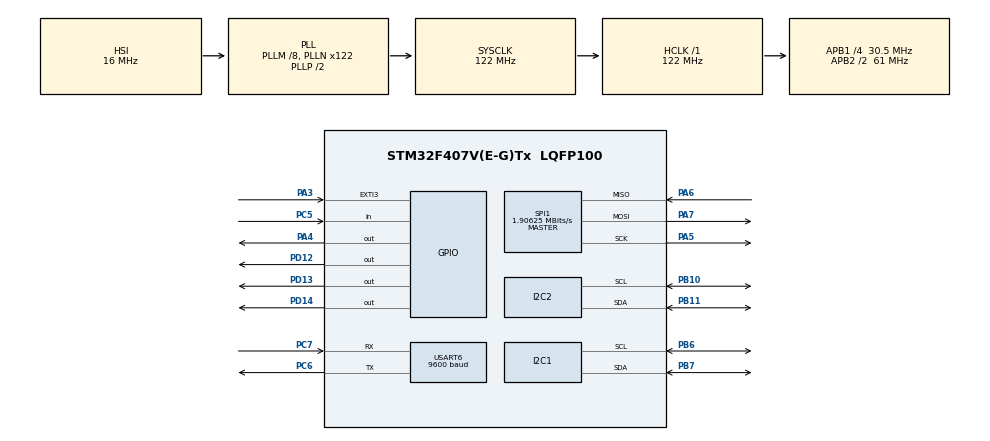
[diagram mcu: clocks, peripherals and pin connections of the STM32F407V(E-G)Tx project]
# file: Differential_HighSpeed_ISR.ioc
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Dma.I2C1_TX.2.Direction=DMA_MEMORY_TO_PERIPH
Dma.I2C1_TX.2.FIFOMode=DMA_FIFOMODE_DISABLE
Dma.I2C1_TX.2.Instance=DMA1_Stream6
Dma.I2C1_TX.2.MemDataAlignment=DMA_MDATAALIGN_BYTE
Dma.I2C1_TX.2.MemInc=DMA_MINC_ENABLE
Dma.I2C1_TX.2.Mode=DMA_NORMAL
Dma.I2C1_TX.2.PeriphDataAlignment=DMA_PDATAALIGN_BYTE
Dma.I2C1_TX.2.PeriphInc=DMA_PINC_DISABLE
Dma.I2C1_TX.2.Priority=DMA_PRIORITY_LOW
Dma.Request0=SPI1_RX
Dma.Request1=SPI1_TX
Dma.Request2=I2C1_TX
Dma.Request3=USART6_TX
Dma.SPI1_RX.0.Direction=DMA_PERIPH_TO_MEMORY
Dma.SPI1_RX.0.FIFOMode=DMA_FIFOMODE_DISABLE
Dma.SPI1_RX.0.Instance=DMA2_Stream0
Dma.SPI1_RX.0.MemDataAlignment=DMA_MDATAALIGN_BYTE
Dma.SPI1_RX.0.MemInc=DMA_MINC_ENABLE
Dma.SPI1_RX.0.Mode=DMA_NORMAL
Dma.SPI1_RX.0.PeriphDataAlignment=DMA_PDATAALIGN_BYTE
Dma.SPI1_RX.0.PeriphInc=DMA_PINC_DISABLE
Dma.SPI1_RX.0.Priority=DMA_PRIORITY_LOW
Dma.SPI1_TX.1.Direction=DMA_MEMORY_TO_PERIPH
Dma.SPI1_TX.1.FIFOMode=DMA_FIFOMODE_DISABLE
Dma.SPI1_TX.1.Instance=DMA2_Stream3
Dma.SPI1_TX.1.MemDataAlignment=DMA_MDATAALIGN_BYTE
Dma.SPI1_TX.1.MemInc=DMA_MINC_ENABLE
Dma.SPI1_TX.1.Mode=DMA_NORMAL
Dma.SPI1_TX.1.PeriphDataAlignment=DMA_PDATAALIGN_BYTE
Dma.SPI1_TX.1.PeriphInc=DMA_PINC_DISABLE
Dma.SPI1_TX.1.Priority=DMA_PRIORITY_LOW
Dma.USART6_TX.3.Direction=DMA_MEMORY_TO_PERIPH
Dma.USART6_TX.3.FIFOMode=DMA_FIFOMODE_DISABLE
Dma.USART6_TX.3.Instance=DMA2_Stream6
Dma.USART6_TX.3.MemDataAlignment=DMA_MDATAALIGN_BYTE
Dma.USART6_TX.3.MemInc=DMA_MINC_ENABLE
Dma.USART6_TX.3.Mode=DMA_NORMAL
Dma.USART6_TX.3.PeriphDataAlignment=DMA_PDATAALIGN_BYTE
Dma.USART6_TX.3.PeriphInc=DMA_PINC_DISABLE
Dma.USART6_TX.3.Priority=DMA_PRIORITY_LOW
FREERTOS.BinarySemaphores01=adcBinarySem,Dynamic,NULL;I2cBinarySem,Dynamic,NULL
FREERTOS.HEAP_NUMBER=3
FREERTOS.Queues01=adcQueue,16,long,0,Dynamic,NULL,NULL
FREERTOS.Tasks01=ADC_Task,3,200,ADC_Thread,Default,NULL,Dynamic,NULL,NULL;FFT_Task,2,200,FFT_Thread,Default,NULL,Dynamic,NULL,NULL;LED_Task,1,200,LED_Thread,Default,NULL,Dynamic,NULL,NULL;I2C_Task,3,200,StartTask04,Default,NULL,Dynamic,NULL,NULL
FREERTOS.configMINIMAL_STACK_SIZE=200
FREERTOS.configTICK_RATE_HZ=1000
FREERTOS.configTOTAL_HEAP_SIZE=30000
I2C1.GeneralCallMode=I2C_GENERALCALL_ENABLE
I2C1.NoStretchMode=I2C_NOSTRETCH_ENABLE
I2C1.OwnAddress=2
I2C2.GeneralCallMode=I2C_GENERALCALL_ENABLE
I2C2.OwnAddress=4
Mcu.Family=STM32F4
Mcu.Name=STM32F407V(E-G)Tx
Mcu.Package=LQFP100
NVIC.DMA1_Stream6_IRQn=true\:5\:0\:false\:false\:true\:true\:false\:true
NVIC.DMA2_Stream0_IRQn=true\:5\:0\:false\:false\:true\:true\:false\:true
NVIC.DMA2_Stream3_IRQn=true\:5\:0\:false\:false\:true\:true\:false\:true
NVIC.DMA2_Stream6_IRQn=true\:5\:0\:false\:false\:true\:true\:false\:true
NVIC.EXTI3_IRQn=true\:5\:0\:false\:false\:true\:true\:true\:true
NVIC.I2C1_ER_IRQn=true\:5\:0\:false\:false\:true\:true\:true\:true
NVIC.I2C1_EV_IRQn=true\:5\:0\:false\:false\:true\:true\:true\:true
NVIC.PriorityGroup=NVIC_PRIORITYGROUP_4
NVIC.USART6_IRQn=true\:5\:0\:false\:false\:true\:true\:true\:true
PA3.GPIO_ModeDefaultEXTI=GPIO_MODE_IT_FALLING
PA3.Signal=GPXTI3
PA4.GPIO_PuPd=GPIO_PULLUP
PA4.GPIO_Speed=GPIO_SPEED_FREQ_VERY_HIGH
PA4.PinState=GPIO_PIN_RESET
PA4.Signal=GPIO_Output
PA5.Mode=Full_Duplex_Master
PA5.Signal=SPI1_SCK
PA6.Mode=Full_Duplex_Master
PA6.Signal=SPI1_MISO
PA7.Mode=Full_Duplex_Master
PA7.Signal=SPI1_MOSI
PB10.Mode=I2C
PB10.Signal=I2C2_SCL
PB11.Mode=I2C
PB11.Signal=I2C2_SDA
PB6.Mode=I2C
PB6.Signal=I2C1_SCL
PB7.Mode=I2C
PB7.Signal=I2C1_SDA
PC5.GPIO_PuPd=GPIO_PULLDOWN
PC5.Signal=GPIO_Input
PC6.Mode=Asynchronous
PC6.Signal=USART6_TX
PC7.Mode=Asynchronous
PC7.Signal=USART6_RX
PD12.Signal=GPIO_Output
PD13.Signal=GPIO_Output
PD14.Signal=GPIO_Output
ProjectManager.HeapSize=0x200
ProjectManager.StackSize=0x400
ProjectManager.TargetToolchain=STM32CubeIDE
RCC.48MHZClocksFreq_Value=61000000
RCC.AHBFreq_Value=122000000
RCC.APB1CLKDivider=RCC_HCLK_DIV4
RCC.APB1Freq_Value=30500000
RCC.APB1TimFreq_Value=61000000
RCC.APB2CLKDivider=RCC_HCLK_DIV2
RCC.APB2Freq_Value=61000000
RCC.APB2TimFreq_Value=122000000
RCC.CortexFreq_Value=122000000
RCC.HCLKFreq_Value=122000000
RCC.HSE_VALUE=25000000
RCC.HSI_VALUE=16000000
RCC.LSE_VALUE=32768
RCC.PLLM=8
RCC.PLLN=122
RCC.SYSCLKFreq_VALUE=122000000
RCC.SYSCLKSource=RCC_SYSCLKSOURCE_PLLCLK
RCC.VCOOutputFreq_Value=244000000
SPI1.BaudRatePrescaler=SPI_BAUDRATEPRESCALER_32
SPI1.CLKPhase=SPI_PHASE_2EDGE
SPI1.CalculateBaudRate=1.90625 MBits/s
SPI1.Direction=SPI_DIRECTION_2LINES
SPI1.Mode=SPI_MODE_MASTER
SPI1.VirtualType=VM_MASTER
USART6.BaudRate=9600
USART6.VirtualMode=VM_ASYNC
VP_FREERTOS_VS_CMSIS_V1.Mode=CMSIS_V1
board=custom

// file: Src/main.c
/* USER CODE BEGIN Header */
/**
  ******************************************************************************
  * @file           : main.c
  * @brief          : Main program body
  ******************************************************************************
  * @attention
  *
  * <h2><center>&copy; Copyright (c) 2019 STMicroelectronics.
  * All rights reserved.</center></h2>
  *
  * This software component is licensed by ST under BSD 3-Clause license,
  * the "License"; You may not use this file except in compliance with the
  * License. You may obtain a copy of the License at:
  *                        opensource.org/licenses/BSD-3-Clause
  *
  ******************************************************************************
  */
/* USER CODE END Header */

#include "main.h"
#include "cmsis_os.h"

/* USER CODE BEGIN Includes */
#include "Delay.h"
#include "Calculate_statistic.h"
#include "arm_const_structs.h"
#include "arm_math.h"
#include "ADS1256.h"
#include "BLE_USART.h"
#include "stdlib.h"

//#include "fft_self.h"
/* USER CODE END Includes */

/* USER CODE BEGIN PTD */
#define FFT_LENGTH_SAMPLES 8192
/* USER CODE END PTD */

/* USER CODE BEGIN PD */

//IIC EEPROM
#define ADDR_24LCxx_Write 0xA0
#define ADDR_24LCxx_Read 0xA1
#define BufferSize 0x100

/* USER CODE END PD */

I2C_HandleTypeDef hi2c1;
I2C_HandleTypeDef hi2c2;
DMA_HandleTypeDef hdma_i2c1_tx;

SPI_HandleTypeDef hspi1;
DMA_HandleTypeDef hdma_spi1_rx;
DMA_HandleTypeDef hdma_spi1_tx;

UART_HandleTypeDef huart6;
DMA_HandleTypeDef hdma_usart6_tx;

osThreadId ADC_TaskHandle;
osThreadId FFT_TaskHandle;
osThreadId LED_TaskHandle;
osThreadId I2C_TaskHandle;
osMessageQId adcQueueHandle;
osSemaphoreId adcBinarySemHandle;
osSemaphoreId I2cBinarySemHandle;
/* USER CODE BEGIN PV */

/*
 * I2C private value
 * */
struct I2cCommunication
{
	uint8_t i2cRecive;
	uint8_t i2cSend;
} I2cC;

uint8_t I2cbuffer[3];

union FLOAT_BYTE
{
 float f;
 uint8_t byte[sizeof(float)];
}F2B;

/*
 * Define STM32 Studio charting value
 * */
uint8_t id=0;
float data;
int32_t read = 0;

/*
 *
 * For FFT_Thread Bluetooth transmit
 * using moving average while variable times is 3
 * variable : d
 *
 * */
uint8_t averageTimes = 0;

/*
 * Define send to ADC message
 * */
uint8_t RDATACsend_data[3] = {0xff,0xff,0xff};
uint8_t Databuffer[3] = {0x00,0x00,0x00};
uint8_t RDATACcmdbuffer[1] = {CMD_RDATAC};
uint8_t SDATACcmduffer[1] = {CMD_SDATAC};

/*
 * FFT using
 * */
uint32_t fftSize = 4096;
uint32_t ifftFlag = 0;
uint32_t doBitReverse = 1;
uint32_t FFT_COUINT = 0;
uint32_t testIndex = 0;
float32_t maxValue;
float32_t *statisticDataSet;
uint32_t maxtestIndex = 0;
uint32_t mintestIndex = 0;
uint32_t dataLength = 0;
uint8_t frequencyScale = 0;

//IIC EEPROM 2402C
uint8_t WriteBufferEEPROM[BufferSize],ReadBufferEEPROM[BufferSize];

uint8_t WriteIICEEPROM[1];

//BLE 080i
USART_BLE USARTBLE;
/*
 * Define Statistic function
 */
extern Sv statistic_value;
/* FreeRTOS private variables;*/
UBaseType_t queueCount;

/* USER CODE END PV */

void SystemClock_Config(void);
static void MX_GPIO_Init(void);
static void MX_DMA_Init(void);
static void MX_SPI1_Init(void);
static void MX_I2C1_Init(void);
static void MX_I2C2_Init(void);
static void MX_USART6_UART_Init(void);
void ADC_Thread(void const * argument);
void FFT_Thread(void const * argument);
void LED_Thread(void const * argument);
void StartTask04(void const * argument);

/* USER CODE BEGIN PFP */

//IIC EEPROM function
void readIICEEPROM_2402C(void);
void writeIICEEPROM_2402C(uint8_t *data);

/* USER CODE END PFP */

/* USER CODE BEGIN 0 */

/*=============================================================================================================
 * IIC Function
 *
 *
 * */
void readIICEEPROM_2402C(void)
{
	  HAL_I2C_Mem_Read(&hi2c2, ADDR_24LCxx_Read, 0, I2C_MEMADD_SIZE_16BIT,ReadBufferEEPROM,BufferSize, 1000);
}
void writeIICEEPROM_2402C(uint8_t *data)
{
		if(HAL_I2C_Mem_Write(&hi2c2, ADDR_24LCxx_Write, 0, I2C_MEMADD_SIZE_16BIT, data,1, 0xff) == HAL_OK)
		{
			TM_DelayMicros(5000);
		}
		else
		{
			TM_DelayMicros(5000);
		}
}

//extern float32_t testInput_f32_10khz[TEST_LENGTH_SAMPLES];
float32_t testOutput[FFT_LENGTH_SAMPLES/2];
float *dataRecive[4096];
float *xdatatoSend = ADS1256.data_buffer;
float FFTdata[8192];
float rawData[4096];

/* USER CODE END 0 */

int main(void)
{

  /* MCU Configuration--------------------------------------------------------*/

  /* Reset of all peripherals, Initializes the Flash interface and the Systick. */
  HAL_Init();

  /* Configure the system clock */
  SystemClock_Config();

  /* Initialize all configured peripherals */
  MX_GPIO_Init();
  MX_DMA_Init();
  MX_SPI1_Init();
  MX_I2C1_Init();
  MX_I2C2_Init();
  MX_USART6_UART_Init();
  /* USER CODE BEGIN 2 */

  statisticDataSet = rawData;
  dataLength = sizeof(dataRecive)/sizeof(float);

  //Initialize ADS1256 data buffer size
  ADS1256.data_index = 0;
  ADS1256.data_length = dataLength;

  //Initialize Frequency range to collection to feature
  //F2B.f = 1.4567;

  //Initialize delay systick
  delay_init(122);
  TM_Delay_Init();

  readIICEEPROM_2402C();
  //Reset ADS1256
  writeCMD(CMD_RESET);
  delay_ms(10);
  TM_DelayMicros(1);

  //Initialize ADS1256 parameter (Buffer, PGA, Sampling rate)
  setBuffer();
  setPGA(PGA_GAIN1);
  setDataRate(DRATE_15000);
  frequencyScale = 15000 / fftSize;

  //Read chip id
  id = readChipID();

  delay_ms(500);// wait for initialization

  uint8_t  posChannels [4] = {AIN0, AIN2, AIN4, AIN6};
  uint8_t  negChannels [4] = {AIN1, AIN3, AIN5, AIN7};

  // Set differential analog input channel.
  setDIFFChannel(posChannels[0], negChannels[0]);
  delay_us(15);
  writeCMD(CMD_SYNC);    // SYNC command
  delay_us(10);
  writeCMD(CMD_WAKEUP);  // WAKEUP command
  delay_us(15); // min delay: t11 = 4 * 1 / 7,68 Mhz = 0,52 micro sec

  // Set continuous mode.
  if(HAL_GPIO_ReadPin(GPIOC, GPIO_PIN_5) == 0)
  {
	  waitDRDY();
	  CS_0();
	  HAL_SPI_Transmit(&hspi1, RDATACcmdbuffer ,1,50);
	  delay_ms(25); // min delay: t6 = 50 * 1/7.68 MHz = 6.5 microseconds
	  ADS1256.data_startFlag = 1;
	  delay_us(1);
  }
  else
  {
	  delay_us(1);
  }

  /* USER CODE END 2 */

  /* Create the semaphores(s) */
  /* definition and creation of adcBinarySem */
  osSemaphoreDef(adcBinarySem);
  adcBinarySemHandle = osSemaphoreCreate(osSemaphore(adcBinarySem), 1);

  /* definition and creation of I2cBinarySem */
  osSemaphoreDef(I2cBinarySem);
  I2cBinarySemHandle = osSemaphoreCreate(osSemaphore(I2cBinarySem), 1);

  /* Create the queue(s) */
  /* definition and creation of adcQueue */
  osMessageQDef(adcQueue, 16, long);
  adcQueueHandle = osMessageCreate(osMessageQ(adcQueue), NULL);

  /* Create the thread(s) */
  /* definition and creation of ADC_Task */
  osThreadDef(ADC_Task, ADC_Thread, osPriorityRealtime, 0, 200);
  ADC_TaskHandle = osThreadCreate(osThread(ADC_Task), NULL);

  /* definition and creation of FFT_Task */
  osThreadDef(FFT_Task, FFT_Thread, osPriorityHigh, 0, 200);
  FFT_TaskHandle = osThreadCreate(osThread(FFT_Task), NULL);

  /* definition and creation of LED_Task */
  osThreadDef(LED_Task, LED_Thread, osPriorityAboveNormal, 0, 200);
  LED_TaskHandle = osThreadCreate(osThread(LED_Task), NULL);

  /* definition and creation of I2C_Task */
  osThreadDef(I2C_Task, StartTask04, osPriorityRealtime, 0, 200);
  I2C_TaskHandle = osThreadCreate(osThread(I2C_Task), NULL);

  /* Start scheduler */
  osKernelStart();

  /* We should never get here as control is now taken by the scheduler */

  /* Infinite loop */
  while (1)
  {

    /* USER CODE BEGIN 3 */
	//scanSEChannels(channels_SE, num_ch_SE, values_SE);
	//scanDIFFChannels(posChannels, negChannels, num_ch_DIFF, values_DIFF);
	//scanDIFFChannelContinuous(AIN0, AIN1, num_measure_DIFF_CONT, values_DIFF_CONT);
	//delay_ms(1);
  }
  /* USER CODE END 3 */
}

void SystemClock_Config(void)
{
  RCC_OscInitTypeDef RCC_OscInitStruct = {0};
  RCC_ClkInitTypeDef RCC_ClkInitStruct = {0};

  /** Configure the main internal regulator output voltage
  */
  __HAL_RCC_PWR_CLK_ENABLE();
  __HAL_PWR_VOLTAGESCALING_CONFIG(PWR_REGULATOR_VOLTAGE_SCALE1);
  /** Initializes the CPU, AHB and APB busses clocks
  */
  RCC_OscInitStruct.OscillatorType = RCC_OSCILLATORTYPE_HSI;
  RCC_OscInitStruct.HSIState = RCC_HSI_ON;
  RCC_OscInitStruct.HSICalibrationValue = RCC_HSICALIBRATION_DEFAULT;
  RCC_OscInitStruct.PLL.PLLState = RCC_PLL_ON;
  RCC_OscInitStruct.PLL.PLLSource = RCC_PLLSOURCE_HSI;
  RCC_OscInitStruct.PLL.PLLM = 8;
  RCC_OscInitStruct.PLL.PLLN = 122;
  RCC_OscInitStruct.PLL.PLLP = RCC_PLLP_DIV2;
  RCC_OscInitStruct.PLL.PLLQ = 4;
  if (HAL_RCC_OscConfig(&RCC_OscInitStruct) != HAL_OK)
  {
    Error_Handler();
  }
  /** Initializes the CPU, AHB and APB busses clocks
  */
  RCC_ClkInitStruct.ClockType = RCC_CLOCKTYPE_HCLK|RCC_CLOCKTYPE_SYSCLK
                              |RCC_CLOCKTYPE_PCLK1|RCC_CLOCKTYPE_PCLK2;
  RCC_ClkInitStruct.SYSCLKSource = RCC_SYSCLKSOURCE_PLLCLK;
  RCC_ClkInitStruct.AHBCLKDivider = RCC_SYSCLK_DIV1;
  RCC_ClkInitStruct.APB1CLKDivider = RCC_HCLK_DIV4;
  RCC_ClkInitStruct.APB2CLKDivider = RCC_HCLK_DIV2;

  if (HAL_RCC_ClockConfig(&RCC_ClkInitStruct, FLASH_LATENCY_4) != HAL_OK)
  {
    Error_Handler();
  }
}

static void MX_I2C1_Init(void)
{

  hi2c1.Instance = I2C1;
  hi2c1.Init.ClockSpeed = 100000;
  hi2c1.Init.DutyCycle = I2C_DUTYCYCLE_2;
  hi2c1.Init.OwnAddress1 = 4;
  hi2c1.Init.AddressingMode = I2C_ADDRESSINGMODE_7BIT;
  hi2c1.Init.DualAddressMode = I2C_DUALADDRESS_DISABLE;
  hi2c1.Init.OwnAddress2 = 0;
  hi2c1.Init.GeneralCallMode = I2C_GENERALCALL_ENABLE;
  hi2c1.Init.NoStretchMode = I2C_NOSTRETCH_ENABLE;
  if (HAL_I2C_Init(&hi2c1) != HAL_OK)
  {
    Error_Handler();
  }
  /* USER CODE BEGIN I2C1_Init 2 */
  HAL_I2C_Slave_Receive_IT(&hi2c1, I2cbuffer, 2);
  /* USER CODE END I2C1_Init 2 */

}

static void MX_I2C2_Init(void)
{

  hi2c2.Instance = I2C2;
  hi2c2.Init.ClockSpeed = 100000;
  hi2c2.Init.DutyCycle = I2C_DUTYCYCLE_2;
  hi2c2.Init.OwnAddress1 = 8;
  hi2c2.Init.AddressingMode = I2C_ADDRESSINGMODE_7BIT;
  hi2c2.Init.DualAddressMode = I2C_DUALADDRESS_DISABLE;
  hi2c2.Init.OwnAddress2 = 0;
  hi2c2.Init.GeneralCallMode = I2C_GENERALCALL_ENABLE;
  hi2c2.Init.NoStretchMode = I2C_NOSTRETCH_DISABLE;
  if (HAL_I2C_Init(&hi2c2) != HAL_OK)
  {
    Error_Handler();
  }

}

static void MX_SPI1_Init(void)
{

  /* SPI1 parameter configuration*/
  hspi1.Instance = SPI1;
  hspi1.Init.Mode = SPI_MODE_MASTER;
  hspi1.Init.Direction = SPI_DIRECTION_2LINES;
  hspi1.Init.DataSize = SPI_DATASIZE_8BIT;
  hspi1.Init.CLKPolarity = SPI_POLARITY_LOW;
  hspi1.Init.CLKPhase = SPI_PHASE_2EDGE;
  hspi1.Init.NSS = SPI_NSS_SOFT;
  hspi1.Init.BaudRatePrescaler = SPI_BAUDRATEPRESCALER_32;
  hspi1.Init.FirstBit = SPI_FIRSTBIT_MSB;
  hspi1.Init.TIMode = SPI_TIMODE_DISABLE;
  hspi1.Init.CRCCalculation = SPI_CRCCALCULATION_DISABLE;
  hspi1.Init.CRCPolynomial = 10;
  if (HAL_SPI_Init(&hspi1) != HAL_OK)
  {
    Error_Handler();
  }

}

static void MX_USART6_UART_Init(void)
{

  huart6.Instance = USART6;
  huart6.Init.BaudRate = 115200;
  huart6.Init.WordLength = UART_WORDLENGTH_8B;
  huart6.Init.StopBits = UART_STOPBITS_1;
  huart6.Init.Parity = UART_PARITY_NONE;
  huart6.Init.Mode = UART_MODE_TX_RX;
  huart6.Init.HwFlowCtl = UART_HWCONTROL_NONE;
  huart6.Init.OverSampling = UART_OVERSAMPLING_16;
  if (HAL_UART_Init(&huart6) != HAL_OK)
  {
    Error_Handler();
  }

}

static void MX_DMA_Init(void)
{

  /* DMA controller clock enable */
  __HAL_RCC_DMA2_CLK_ENABLE();
  __HAL_RCC_DMA1_CLK_ENABLE();

  /* DMA interrupt init */
  /* DMA1_Stream6_IRQn interrupt configuration */
  HAL_NVIC_SetPriority(DMA1_Stream6_IRQn, 5, 0);
  HAL_NVIC_EnableIRQ(DMA1_Stream6_IRQn);
  /* DMA2_Stream0_IRQn interrupt configuration */
  HAL_NVIC_SetPriority(DMA2_Stream0_IRQn, 5, 0);
  HAL_NVIC_EnableIRQ(DMA2_Stream0_IRQn);
  /* DMA2_Stream3_IRQn interrupt configuration */
  HAL_NVIC_SetPriority(DMA2_Stream3_IRQn, 5, 0);
  HAL_NVIC_EnableIRQ(DMA2_Stream3_IRQn);
  /* DMA2_Stream6_IRQn interrupt configuration */
  HAL_NVIC_SetPriority(DMA2_Stream6_IRQn, 5, 0);
  HAL_NVIC_EnableIRQ(DMA2_Stream6_IRQn);

}

static void MX_GPIO_Init(void)
{
  GPIO_InitTypeDef GPIO_InitStruct = {0};

  /* GPIO Ports Clock Enable */
  __HAL_RCC_GPIOA_CLK_ENABLE();
  __HAL_RCC_GPIOC_CLK_ENABLE();
  __HAL_RCC_GPIOB_CLK_ENABLE();
  __HAL_RCC_GPIOD_CLK_ENABLE();

  /*Configure GPIO pin Output Level */
  HAL_GPIO_WritePin(GPIOA, GPIO_PIN_4, GPIO_PIN_RESET);

  /*Configure GPIO pin Output Level */
  HAL_GPIO_WritePin(GPIOD, GPIO_PIN_12|GPIO_PIN_13|GPIO_PIN_14, GPIO_PIN_RESET);

  /*Configure GPIO pin : PA3 */
  GPIO_InitStruct.Pin = GPIO_PIN_3;
  GPIO_InitStruct.Mode = GPIO_MODE_IT_FALLING;
  GPIO_InitStruct.Pull = GPIO_NOPULL;
  HAL_GPIO_Init(GPIOA, &GPIO_InitStruct);

  /*Configure GPIO pin : PA4 */
  GPIO_InitStruct.Pin = GPIO_PIN_4;
  GPIO_InitStruct.Mode = GPIO_MODE_OUTPUT_PP;
  GPIO_InitStruct.Pull = GPIO_PULLUP;
  GPIO_InitStruct.Speed = GPIO_SPEED_FREQ_VERY_HIGH;
  HAL_GPIO_Init(GPIOA, &GPIO_InitStruct);

  /*Configure GPIO pin : PC5 */
  GPIO_InitStruct.Pin = GPIO_PIN_5;
  GPIO_InitStruct.Mode = GPIO_MODE_INPUT;
  GPIO_InitStruct.Pull = GPIO_PULLDOWN;
  HAL_GPIO_Init(GPIOC, &GPIO_InitStruct);

  /*Configure GPIO pins : PD12 PD13 PD14 */
  GPIO_InitStruct.Pin = GPIO_PIN_12|GPIO_PIN_13|GPIO_PIN_14;
  GPIO_InitStruct.Mode = GPIO_MODE_OUTPUT_PP;
  GPIO_InitStruct.Pull = GPIO_NOPULL;
  GPIO_InitStruct.Speed = GPIO_SPEED_FREQ_LOW;
  HAL_GPIO_Init(GPIOD, &GPIO_InitStruct);

  /* EXTI interrupt init*/
  HAL_NVIC_SetPriority(EXTI3_IRQn, 5, 0);
  HAL_NVIC_EnableIRQ(EXTI3_IRQn);

}

/* USER CODE BEGIN 4 */

void I2C1_EV_IRQHandler(void)
{
  /* USER CODE BEGIN I2C1_EV_IRQn 0 */

  /* USER CODE END I2C1_EV_IRQn 0 */
    HAL_I2C_EV_IRQHandler(&hi2c1);
  /* USER CODE BEGIN I2C1_EV_IRQn 1 */

    //if(buffer[0] == 0x50 && buffer[1] == 0x30)
    switch(I2cbuffer[0])
    {
    	case 0x01:
    		F2B.f = statistic_value.Statistic_FreqOvall;
			if(HAL_I2C_Slave_Transmit_DMA(&hi2c1, F2B.byte, 4) == HAL_OK)
			{

			}
	    break;
    	case 0x02:
			F2B.f = statistic_value.Statistic_max;
			if(HAL_I2C_Slave_Transmit_DMA(&hi2c1, F2B.byte, 4) == HAL_OK)
			{

			}
		break;
     	case 0x03:
			F2B.f = statistic_value.Statistic_min;
			if(HAL_I2C_Slave_Transmit_DMA(&hi2c1, F2B.byte, 4) == HAL_OK)
			{

			}
		break;
     	case 0x04:
			F2B.f = statistic_value.Statistic_var;
			if(HAL_I2C_Slave_Transmit_DMA(&hi2c1, F2B.byte, 4) == HAL_OK)
			{

			}
		break;
     	case 0x05:
			F2B.f = statistic_value.Statistic_rms;
			if(HAL_I2C_Slave_Transmit_DMA(&hi2c1, F2B.byte, 4) == HAL_OK)
			{

			}
		break;
     	case 0x06:
			F2B.f = statistic_value.Statistic_mean;
			if(HAL_I2C_Slave_Transmit_DMA(&hi2c1, F2B.byte, 4) == HAL_OK)
			{

			}
		break;
     	case 0x07:
			F2B.f = statistic_value.Statistic_std;
			if(HAL_I2C_Slave_Transmit_DMA(&hi2c1, F2B.byte, 4) == HAL_OK)
			{

			}
		break;
     	case 0x08:
			F2B.f = statistic_value.Statistic_FreqPeak[0];
			if(HAL_I2C_Slave_Transmit_DMA(&hi2c1, F2B.byte, 4) == HAL_OK)
			{

			}
		break;
    }

	/*
    if(buffer[0] == 0x01)
    {

    	pData[9] = 123;
    	pData[0] = statistic_value.Statistic_max;
    	pData[1] = statistic_value.Statistic_min;
    	pData[2] = statistic_value.Statistic_var;
    	pData[3] = statistic_value.Statistic_rms;
    	pData[4] = statistic_value.Statistic_mean;
    	pData[5] = statistic_value.Statistic_std;
    	pData[6] = statistic_value.Statistic_FreqOvall;
    	pData[7] = statistic_value.Statistic_FreqPeak[0];
    	pData[8] = statistic_value.Statistic_FreqPeak[1];

    	F2B.f = statistic_value.Statistic_FreqOvall;
        if(HAL_I2C_Slave_Transmit_DMA(&hi2c1, F2B.byte, 4) == HAL_OK)
    	{

    	}
    }
    else if (buffer[0] == 0x02)
	{
    	F2B.f = 1.1234;
		if(HAL_I2C_Slave_Transmit_DMA(&hi2c1, F2B.byte, 4) == HAL_OK)
		{

		}
	}
 	*/
    /*
    else
    {
    	  switch(buffer[0])
    	  {

			  case 0x01:
				  WriteIICEEPROM[0] = buffer[1];
				  freq_settingValue.freq1 = buffer[1];
				  writeIICEEPROM_2402C(WriteIICEEPROM);
				  readIICEEPROM_2402C();
				  break;
			  case 0x02:
				  WriteIICEEPROM[0] = buffer[1];
				  freq_settingValue.freq2 = buffer[1];
				  writeIICEEPROM_2402C(WriteIICEEPROM);
				  readIICEEPROM_2402C();
				  break;
			  case 0x03:
				  freq_settingValue.freq3 = buffer[1];
				  break;
			  case 0x04:
				  freq_settingValue.freq4 = buffer[1];
				  break;
			  case 0x05:
				  freq_settingValue.freq5 = buffer[1];
				  break;
			  case 0x06:
				  freq_settingValue.freq6 = buffer[1];
				  break;
			  case 0x07:
				  freq_settingValue.freq7 = buffer[1];
				  break;
			  case 0x08:
				  freq_settingValue.freq8 = buffer[1];
				  break;
			  case 0x09:
				  freq_settingValue.freq9 = buffer[1];
				  break;
			  case 0x0A:
				  freq_settingValue.freq10 = buffer[1];
				  break;
			  case 0x0B:
				  freq_settingValue.freq11 = buffer[1];
				  break;
			  case 0x0C:
				  freq_settingValue.freq12 = buffer[1];
				  break;
			  case 0x0D:
				  freq_settingValue.freq13 = buffer[1];
				  break;
			  case 0x0E:
				  freq_settingValue.freq14 = buffer[1];
				  break;
    	  }

    }
    */
    /*
    else if(buffer[0] == 0x01)
    {
    	freq_settingValue.freq1 = buffer[1];
    }
*/

    HAL_I2C_Slave_Receive_IT(&hi2c1, I2cbuffer, 2);
  /* USER CODE END I2C1_EV_IRQn 1 */
}

void HAL_GPIO_EXTI_Callback(uint16_t GPIO_Pin)
{

	if(GPIO_Pin == GPIO_PIN_3 && id == 3 && ADS1256.data_startFlag == 1 && I2cC.i2cRecive == 0)
	{

		    /* The xHigherPriorityTaskWoken parameter must be initialized to pdFALSE because it will get set to pdTRUE inside the interrupt-safe API function if a context switch is required. */

		BaseType_t xHigherPriorityTaskWoken;
		xHigherPriorityTaskWoken = pdFALSE;
		xSemaphoreGiveFromISR(adcBinarySemHandle,&xHigherPriorityTaskWoken);

		if(xHigherPriorityTaskWoken == pdTRUE)
		{
			portEND_SWITCHING_ISR( xHigherPriorityTaskWoken );
		}

	}
}

/* USER CODE END 4 */

void ADC_Thread(void const * argument)
{

  /* USER CODE BEGIN 5 */
  const TickType_t xMaxExpectedBlockTime = pdMS_TO_TICKS( 500 );
  //portBASE_TYPE xStatus;
  /* Infinite loop */
  for(;;)
  {
	//vTaskSuspend(NULL);
	 if( xSemaphoreTake( adcBinarySemHandle, xMaxExpectedBlockTime ) == pdPASS && I2cC.i2cRecive == 0){
			HAL_SPI_TransmitReceive_DMA(&hspi1,RDATACsend_data,Databuffer,3);

					// construct 24 bit value
			read  = ((int32_t)Databuffer[0] << 16) & 0x00FF0000;
			read |= ((int32_t)Databuffer[1] << 8);
			read |= Databuffer[2];
			if (read & 0x800000){
				read |= 0xFF000000;

			}

			data = read;
			data = data / 1670000;
			ADS1256.data_buffer[ADS1256.data_index] = data; //plus 2 for FFT using
			ADS1256.data_index++;
			if(ADS1256.data_index == ADS1256.data_length) //divide 2 for FFT real data equal 4096
			{

				/*send data to buffer*/
				BaseType_t xStatus;
				xStatus = xQueueSendToBack(adcQueueHandle, &xdatatoSend , 0);
				queueCount = uxQueueMessagesWaiting(adcQueueHandle);

				if(xStatus == pdPASS)
				{
					vTaskResume(FFT_TaskHandle);
				};

			  	ADS1256.data_index = 0;
				HAL_GPIO_TogglePin(GPIOD, GPIO_PIN_13);
			}

			TM_DelayMicros(8);
	}

  }
  /* USER CODE END 5 */
}

void FFT_Thread(void const * argument)
{
  /* USER CODE BEGIN FFT_Thread */
	//portBASE_TYPE xStatus;

	//const portTickType xTicksToWait = 100 / portTICK_RATE_MS;
  /* Infinite loop */
  for(;;)
  {
	  BaseType_t xStatus;
	  queueCount = uxQueueMessagesWaiting(adcQueueHandle);
	  if(queueCount!=0){
			  xStatus = xQueueReceive(adcQueueHandle, &dataRecive, 100);
			  queueCount = uxQueueMessagesWaiting(adcQueueHandle);

			for(uint32_t i = 0; i<dataLength; i++)
			{
				//recivedata5 = *(dataRecive[0]+i);
				rawData[i]=*(dataRecive[0]+i);
				FFTdata[i*2] = *(dataRecive[0]+i);
				FFTdata[i*2+1] = 0;

			}

			if(xStatus == pdPASS)
			{

				float32_t Speeddatabuffer[fftSize];
				/* Process the data through the CFFT/CIFFT module */
				arm_cfft_f32(&arm_cfft_sR_f32_len4096, FFTdata, ifftFlag, doBitReverse);

				/* Process the data through the Complex Magnitude Module for
				calculating the magnitude at each bin */
				arm_cmplx_mag_f32(FFTdata, testOutput, fftSize);

				/* Calculates maxValue and returns corresponding BIN value */
				arm_max_f32(testOutput, fftSize, &maxValue, &testIndex);

			     /*
				 * the testOutput in python  ==> testOutput = yf = abs(fft(signal = testInput_f32_10khz))
				 * so we can make a new array like yf2 = 2/N * np.abs(yf[0:N//2]); in python
				 * It kindly would be
				 *  testOutput[] = 2/N * testOutput[0:N/2]
				 *
				 * */
				for(uint16_t i = 0; i < fftSize; i++)
				{
					Speeddatabuffer[i] = testOutput[i];
				}

				maxValue = maxValue*2 / dataLength;

				for(uint16_t i = 1; i < fftSize; i++)
				{
					if(i < fftSize/2)
					{
						if(i ==0)
						{
							Speeddatabuffer[i] = Speeddatabuffer[i];
						}
						else
						{
							Speeddatabuffer[i] = (Speeddatabuffer[i] * 9807) / (2 * 3.1415926 * frequencyScale * i);
						}

					}
					else if(i > fftSize/2)
					{
						Speeddatabuffer[i] = (Speeddatabuffer[i] * 9807) / (2 * 3.1415926 * frequencyScale * abs(fftSize-i));
					}

				}

				/* focus broad band functionality
				for(int i =0; i<14; i++)
				{
					Calculate_FreqMax(testOutput,*((&freq_settingValue.freq1)+i), i);
				}
				 */

				/*Calculate math function*/
				statistic_value.Statistic_SpeedOvall = Calculate_FreqOverAll(Speeddatabuffer, dataLength);
				statistic_value.Statistic_FreqOvall = Calculate_FreqOverAll(testOutput, dataLength);
				arm_max_f32(statisticDataSet, dataLength, &statistic_value.Statistic_max, &maxtestIndex);
				arm_min_f32(statisticDataSet, dataLength, &statistic_value.Statistic_min, &mintestIndex);
				arm_var_f32(statisticDataSet, dataLength, &statistic_value.Statistic_var);
				arm_rms_f32(statisticDataSet, dataLength, &statistic_value.Statistic_rms);
				arm_mean_f32(statisticDataSet, dataLength, &statistic_value.Statistic_mean);
				arm_std_f32(statisticDataSet, dataLength, &statistic_value.Statistic_std);
				statistic_value.Statistic_crestFactor = statistic_value.Statistic_max/statistic_value.Statistic_rms;
				statistic_value.Statistic_p2p = statistic_value.Statistic_max - statistic_value.Statistic_min;
				/*Calculate skewness and kurtosis will cause delay*/
				//statistic_value.Statistic_kurtosis = Calculate_kurtosis(statisticDataSet, dataLength);
				//statistic_value.Statistic_skewness = Calculate_skewness(statisticDataSet, dataLength);

				/*to calculate 3 times moving average*/
				averageTimes++;
				if(averageTimes == 1)
				{
					statistic_value.Statistic_max_Temp = statistic_value.Statistic_max;
					statistic_value.Statistic_min_Temp = statistic_value.Statistic_min;
					statistic_value.Statistic_var_Temp = statistic_value.Statistic_var;
					statistic_value.Statistic_rms_Temp = statistic_value.Statistic_rms;
					statistic_value.Statistic_mean_Temp = statistic_value.Statistic_mean;
					statistic_value.Statistic_std_Temp = statistic_value.Statistic_std;
					statistic_value.Statistic_FreqOvall_Temp = statistic_value.Statistic_FreqOvall;
					statistic_value.Statistic_crestFactor_Temp = statistic_value.Statistic_crestFactor;
					statistic_value.Statistic_kurtosis_Temp = statistic_value.Statistic_crestFactor;
					statistic_value.Statistic_SpeedOvall_Temp = statistic_value.Statistic_SpeedOvall;
					statistic_value.Statistic_p2p_Temp = statistic_value.Statistic_p2p;

				}
				if(averageTimes == 2)
				{
					statistic_value.Statistic_max_Temp += statistic_value.Statistic_max;
					statistic_value.Statistic_min_Temp += statistic_value.Statistic_min;
					statistic_value.Statistic_var_Temp += statistic_value.Statistic_var;
					statistic_value.Statistic_rms_Temp += statistic_value.Statistic_rms;
					statistic_value.Statistic_mean_Temp += statistic_value.Statistic_mean;
					statistic_value.Statistic_std_Temp += statistic_value.Statistic_std;
					statistic_value.Statistic_FreqOvall_Temp += statistic_value.Statistic_FreqOvall;
					statistic_value.Statistic_crestFactor_Temp += statistic_value.Statistic_crestFactor;
					statistic_value.Statistic_SpeedOvall_Temp += statistic_value.Statistic_SpeedOvall;
					statistic_value.Statistic_p2p_Temp += statistic_value.Statistic_p2p;

				}
				if(averageTimes == 3)
				{
					statistic_value.Statistic_max = (statistic_value.Statistic_max_Temp +
							statistic_value.Statistic_max) / 3;
					statistic_value.Statistic_min = (statistic_value.Statistic_min_Temp +
							statistic_value.Statistic_min) / 3;
					statistic_value.Statistic_var = (statistic_value.Statistic_var_Temp +
							statistic_value.Statistic_var) / 3;
					statistic_value.Statistic_rms = (statistic_value.Statistic_rms_Temp +
							statistic_value.Statistic_rms) / 3;
					statistic_value.Statistic_mean = (statistic_value.Statistic_mean_Temp +
							statistic_value.Statistic_mean) / 3;
					statistic_value.Statistic_std = (statistic_value.Statistic_std_Temp +
							statistic_value.Statistic_std) / 3;
					statistic_value.Statistic_FreqOvall = (statistic_value.Statistic_FreqOvall_Temp +
							statistic_value.Statistic_FreqOvall) / 3;
					statistic_value.Statistic_crestFactor = (statistic_value.Statistic_crestFactor_Temp +
							statistic_value.Statistic_crestFactor) / 3;
					statistic_value.Statistic_SpeedOvall = (statistic_value.Statistic_SpeedOvall_Temp +
							statistic_value.Statistic_SpeedOvall) / 3;
					statistic_value.Statistic_p2p = (statistic_value.Statistic_p2p_Temp +
							statistic_value.Statistic_p2p) / 3;

					USARTBLE.sendflag = 1;
					averageTimes = 0;
					BLE_USART(&huart6, &statistic_value);

				}

				//snprintf_(bb,20, "%.3f Pa", statistic_value.Statistic_max);

				HAL_GPIO_TogglePin(GPIOD, GPIO_PIN_12);
			}

			/*If there is no data in queue, start ads1256 conversion*/

	/*
			if(testIndex !=  refIndex)
			{
			  status = ARM_MATH_TEST_FAILURE;
			}
*/
	  }

	  else{
		 vTaskSuspend(NULL);

	  }
  }
  /* USER CODE END FFT_Thread */
}

void LED_Thread(void const * argument)
{
  for(;;)
  {
  }
}

void StartTask04(void const * argument)
{
  for(;;)
  {
    osDelay(1);
  }
}

void Error_Handler(void)
{
}

/************************ (C) COPYRIGHT STMicroelectronics *****END OF FILE****/
